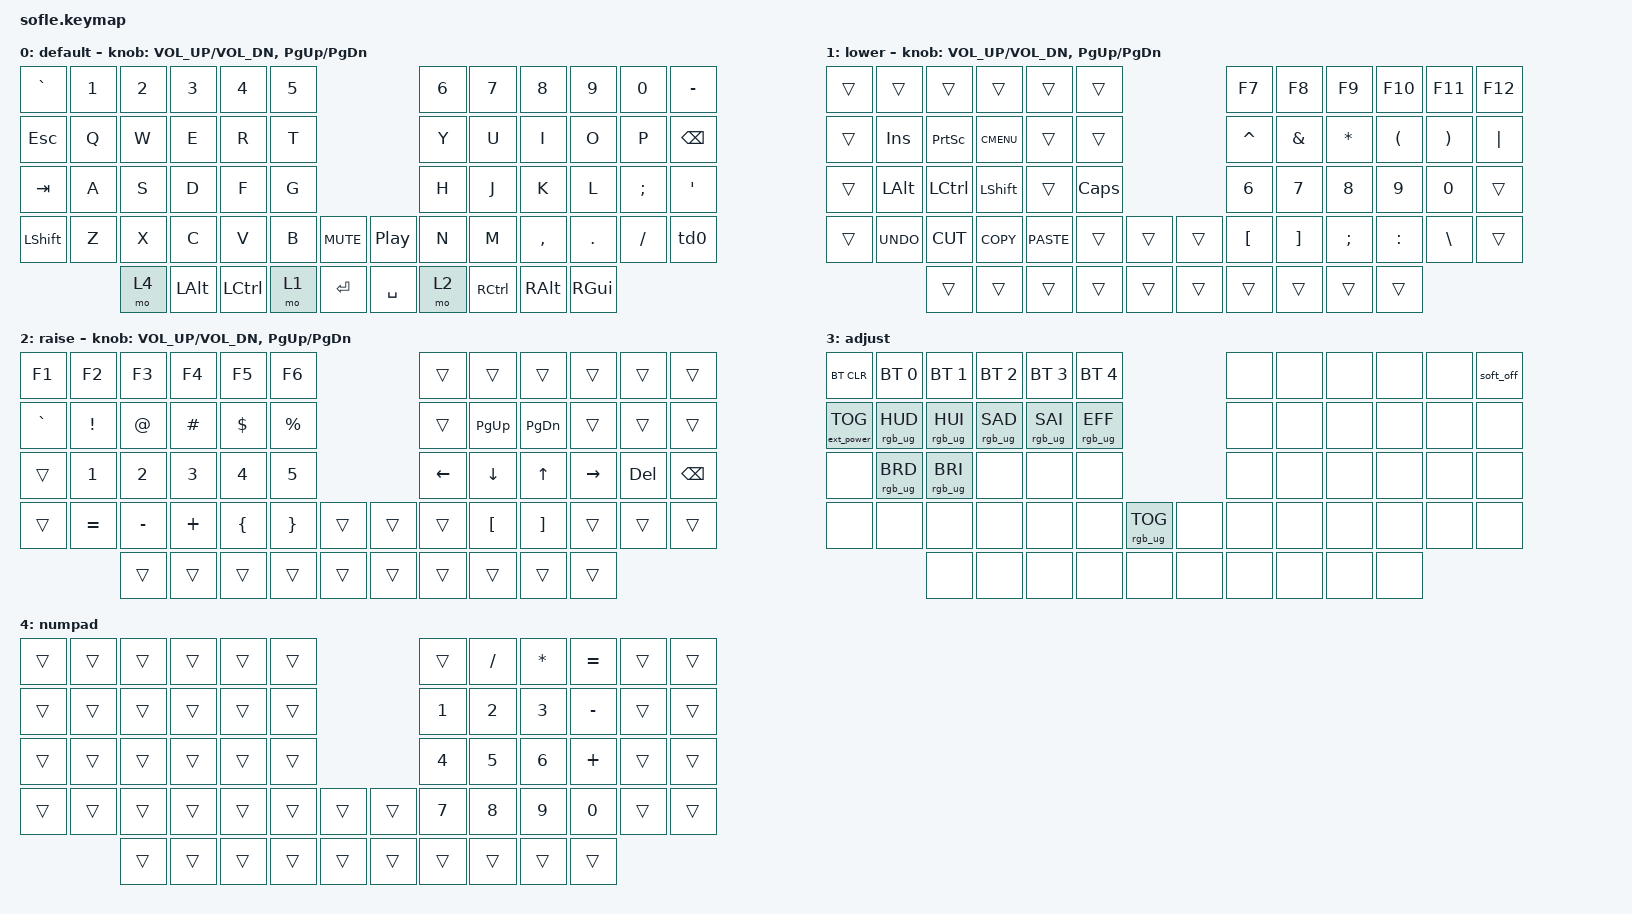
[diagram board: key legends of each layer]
#include <behaviors.dtsi>
#include <dt-bindings/zmk/bt.h>
#include <dt-bindings/zmk/ext_power.h>
#include <dt-bindings/zmk/keys.h>
#include <dt-bindings/zmk/rgb.h>

#define BASE 0
#define LOWER 1
#define RAISE 2
#define ADJUST 3

/ {
    conditional_layers {
        compatible = "zmk,conditional-layers";

        adjust_layer {
            if-layers = <1 2>;
            then-layer = <3>;
        };
    };

    behaviors {
        td0: tap_dance_0 {
            compatible = "zmk,behavior-tap-dance";
            #binding-cells = <0>;
            tapping-term-ms = <200>;
            bindings = <&kp RSHFT>, <&kp CLCK>;
        };
    };

    combos {
        compatible = "zmk,combos";

        homerow-open-round {
            bindings = <&kp LEFT_PARENTHESIS>;
            key-positions = <25 26>;
        };

        homerow-close-round {
            bindings = <&kp RIGHT_PARENTHESIS>;
            key-positions = <28 27>;
        };

        homerow-open-curly {
            bindings = <&kp LEFT_BRACE>;
            key-positions = <31 32>;
        };

        homerow-close-curly {
            bindings = <&kp RIGHT_BRACE>;
            key-positions = <33 34>;
        };

        homerow-open-square {
            bindings = <&kp LEFT_BRACKET>;
            key-positions = <26 27>;
        };

        homerow-close-square {
            bindings = <&kp RIGHT_BRACKET>;
            key-positions = <32 33>;
        };
    };

    keymap {
        compatible = "zmk,keymap";

        default_layer {
            display-name = "default";

            // ------------------------------------------------------------------------------------------------------------
            // |   `   |  1  |  2  |  3   |  4   |  5   |                        |  6   |  7    |  8    |  9   |   0   |   -   |
            // |  ESC  |  Q  |  W  |  E   |  R   |  T   |                        |  Y   |  U    |  I    |  O   |   P   | BKSPC |
            // |  TAB  |  A  |  S  |  D   |  F   |  G   |                        |  H   |  J    |  K    |  L   |   ;   |   '   |
            // | SHIFT |  Z  |  X  |  C   |  V   |  B   |  MUTE  |  | PLAY/PAUSE |  N   |  M    |  ,    |  .   |   /   | SHIFT |
            //               | GUI | ALT  | CTRL | LOWER|  ENTER |  | SPACE      | RAISE| CTRL  | ALT   | GUI  |

            bindings = <
&kp GRAVE  &kp N1  &kp N2  &kp N3    &kp N4     &kp N5                                  &kp N6  &kp N7     &kp N8     &kp N9    &kp N0    &kp MINUS
&kp ESC    &kp Q   &kp W   &kp E     &kp R      &kp T                                   &kp Y   &kp U      &kp I      &kp O     &kp P     &kp BSPC
&kp TAB    &kp A   &kp S   &kp D     &kp F      &kp G                                   &kp H   &kp J      &kp K      &kp L     &kp SEMI  &kp SQT
&kp LSHFT  &kp Z   &kp X   &kp C     &kp V      &kp B   &kp C_MUTE    &kp C_PLAY_PAUSE  &kp N   &kp M      &kp COMMA  &kp DOT   &kp FSLH  &td0
                   &mo 4   &kp LALT  &kp LCTRL  &mo 1   &kp RET       &kp SPACE         &mo 2   &kp RCTRL  &kp RALT   &kp RGUI
            >;

            sensor-bindings = <&inc_dec_kp C_VOL_UP C_VOL_DN &inc_dec_kp PG_UP PG_DN>;
        };

        lower_layer {
            display-name = "lower";

            // TODO: Some binds are waiting for shifted keycode support.
            //
            // ------------------------------------------------------------------------------------------------------------
            // | |      |      |       |       |      |                   |  F7  |  F8   |  F9   |  F10  |  F11 |  F12  |
            // | | INS  | PSCR | GUI   |       |      |                   |  6   |  7    |  8    |  9   |   0   |   |   |
            // | | ALT  | CTRL | SHIFT |       | CAPS |                   |  ^   |  &    |  *    |  (   |   )   |       |
            // | | UNDO |  CUT | COPY  | PASTE |      |        |  |       |  [   |  ]    |  ;    |  :   |   \   |       |
            //          |      |       |       |      |        |  |       |      |       |       |      |

            bindings = <
&trans  &trans      &trans     &trans       &trans       &trans                      &kp F7     &kp F8    &kp F9     &kp F10    &kp F11   &kp F12
&trans  &kp INS     &kp PSCRN  &kp K_CMENU  &trans       &trans                      &kp CARET  &kp AMPS  &kp ASTRK  &kp LPAR   &kp RPAR  &kp PIPE
&trans  &kp LALT    &kp LCTRL  &kp LSHFT    &trans       &kp CLCK                    &kp N6     &kp N7    &kp N8     &kp N9     &kp N0    &trans
&trans  &kp K_UNDO  &kp K_CUT  &kp K_COPY   &kp K_PASTE  &trans    &trans    &trans  &kp LBKT   &kp RBKT  &kp SEMI   &kp COLON  &kp BSLH  &trans
                    &trans     &trans       &trans       &trans    &trans    &trans  &trans     &trans    &trans     &trans
            >;

            sensor-bindings = <&inc_dec_kp C_VOL_UP C_VOL_DN &inc_dec_kp PG_UP PG_DN>;
        };

        raise_layer {
            display-name = "raise";

            // ------------------------------------------------------------------------------------------------------------
            // | F1 | F2  | F3  | F4 | F5 | F6 |                |      |       |       |      |       |       |
            // | `  | !   | @   | #  | $  | %  |                | PGUP | PGDWN |       |      |       |       |
            // |    | 1   | 2   | 3  | 4  | 5  |                |   <- |   v   |   ^   |  ->  |  DEL  | BKSPC |
            // |    | =   | -   | +  | {  |  } |      |  |      | [    |   ]   |   <   |  >   |   \   |       |
            //            |     |    |    |    |      |  |      |      |       |       |      |

            bindings = <
&kp F1     &kp F2     &kp F3     &kp F4    &kp F5    &kp F6                       &trans    &trans     &trans     &trans     &trans   &trans
&kp GRAVE  &kp EXCL   &kp AT     &kp HASH  &kp DLLR  &kp PRCNT                    &trans    &kp PG_UP  &kp PG_DN  &trans     &trans   &trans
&trans     &kp N1     &kp N2     &kp N3    &kp N4    &kp N5                       &kp LEFT  &kp DOWN   &kp UP     &kp RIGHT  &kp DEL  &kp BSPC
&trans     &kp EQUAL  &kp MINUS  &kp PLUS  &kp LBRC  &kp RBRC   &trans    &trans  &trans    &kp LBKT   &kp RBKT   &trans     &trans   &trans
                      &trans     &trans    &trans    &trans     &trans    &trans  &trans    &trans     &trans     &trans
            >;

            sensor-bindings = <&inc_dec_kp C_VOL_UP C_VOL_DN &inc_dec_kp PG_UP PG_DN>;
        };

        adjust_layer {
            display-name = "adjust";

            // ----------------------------------------------------------------------------------------------------------------------------
            // | BTCLR  |  BT1    |  BT2    |   BT3   |   BT4   |   BT5   |                  |      |      |       |      |       | OFF |
            // | EXTPWR | RGB_HUD | RGB_HUI | RGB_SAD | RGB_SAI | RGB_EFF |                  |      |      |       |      |       |     |
            // |        | RGB_BRD | RGB_BRI |         |         |         |                  |      |      |       |      |       |     |
            // |        |         |         |         |         |         | RGB_TOG | |      |      |      |       |      |       |     |
            //                    |         |         |         |         |         | |      |      |      |       |      |

            bindings = <
&bt BT_CLR         &bt BT_SEL 0     &bt BT_SEL 1     &bt BT_SEL 2     &bt BT_SEL 3     &bt BT_SEL 4                               &none  &none  &none  &none  &none  &soft_off
&ext_power EP_TOG  &rgb_ug RGB_HUD  &rgb_ug RGB_HUI  &rgb_ug RGB_SAD  &rgb_ug RGB_SAI  &rgb_ug RGB_EFF                            &none  &none  &none  &none  &none  &none
&none              &rgb_ug RGB_BRD  &rgb_ug RGB_BRI  &none            &none            &none                                      &none  &none  &none  &none  &none  &none
&none              &none            &none            &none            &none            &none            &rgb_ug RGB_TOG    &none  &none  &none  &none  &none  &none  &none
                                    &none            &none            &none            &none            &none              &none  &none  &none  &none  &none
            >;
        };

        numpad {
            bindings = <
&trans  &trans  &trans  &trans  &trans  &trans                    &trans  &kp SLASH  &kp ASTERISK  &kp EQUAL  &trans  &trans
&trans  &trans  &trans  &trans  &trans  &trans                    &kp N1  &kp N2     &kp N3        &kp MINUS  &trans  &trans
&trans  &trans  &trans  &trans  &trans  &trans                    &kp N4  &kp N5     &kp N6        &kp PLUS   &trans  &trans
&trans  &trans  &trans  &trans  &trans  &trans  &trans    &trans  &kp N7  &kp N8     &kp N9        &kp N0     &trans  &trans
                &trans  &trans  &trans  &trans  &trans    &trans  &trans  &trans     &trans        &trans
            >;
        };
    };
};
